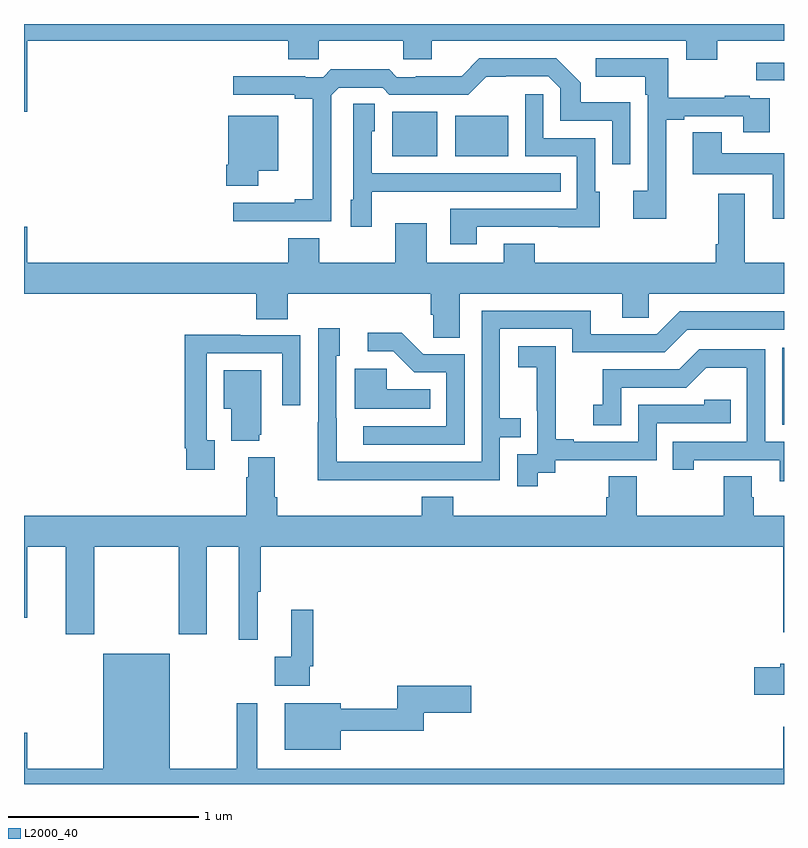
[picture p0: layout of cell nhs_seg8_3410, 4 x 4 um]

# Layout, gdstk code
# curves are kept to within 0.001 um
import gdstk
lib = gdstk.Library(unit=1e-6, precision=1e-09)
def R(c, l, rs):  # rectangles x0, y0, x1, y1
    for r in rs: c.add(gdstk.rectangle(r[:2], r[2:], *l))
def P(c, l, *ps):  # polygons
    for p in ps: c.add(gdstk.Polygon(p, *l))
L2000_40 = (2000, 40)

nhs_seg8_3410 = lib.new_cell('nhs_seg8_3410')
R(nhs_seg8_3410, L2000_40, [(324.99,1135.791,325,1136.197), (322.937,1137.203,323.176,1137.439), (323.27,1137.203,323.548,1137.418)])
P(nhs_seg8_3410, L2000_40, [(321.016,1137.812),(322.391,1137.812),(322.391,1137.714),(322.551,1137.714),(322.551,1137.812),(322.996,1137.812),(322.996,1137.714),(323.146,1137.714),(323.146,1137.812),(324.485,1137.812),(324.485,1137.713),(324.649,1137.713),(324.649,1137.812),(325,1137.812),(325,1137.9),(321,1137.9),(321,1137.438),(321.016,1137.438)],
  [(324.379,1137.396),(324.475,1137.396),(324.475,1137.414),(324.785,1137.414),(324.785,1137.33),(324.925,1137.33),(324.925,1137.51),(324.821,1137.51),(324.821,1137.523),(324.689,1137.523),(324.689,1137.512),(324.391,1137.512),(324.391,1137.72),(324.009,1137.72),(324.009,1137.623),(324.27,1137.623),(324.27,1137.527),(324.282,1137.527),(324.282,1137.022),(324.207,1137.022),(324.207,1136.874),(324.379,1136.874)],
  [(322.617,1137.525),(322.656,1137.564),(322.887,1137.564),(322.923,1137.528),(323.337,1137.528),(323.432,1137.623),(323.76,1137.624),(323.823,1137.561),(323.823,1137.39),(324.096,1137.39),(324.096,1137.162),(324.192,1137.162),(324.192,1137.487),(323.931,1137.487),(323.931,1137.59),(323.8,1137.72),(323.397,1137.72),(323.303,1137.626),(323.062,1137.626),(323.062,1137.621),(322.962,1137.621),(322.923,1137.661),(322.615,1137.661),(322.575,1137.621),(322.481,1137.621),(322.481,1137.626),(322.101,1137.626),(322.101,1137.528),(322.424,1137.528),(322.424,1137.506),(322.52,1137.506),(322.52,1136.978),(322.424,1136.978),(322.424,1136.958),(322.101,1136.958),(322.101,1136.862),(322.617,1136.862)],
  [(325,1137.697),(324.855,1137.697),(324.855,1137.603),(324.999,1137.603),(325,1137.602)],
  [(323.383,1136.832),(323.813,1136.832),(323.813,1136.831),(324.031,1136.831),(324.031,1137.018),(324.006,1137.018),(324.006,1137.3),(323.733,1137.3),(323.733,1137.529),(323.637,1137.529),(323.637,1137.204),(323.91,1137.204),(323.91,1136.928),(323.243,1136.928),(323.243,1136.742),(323.383,1136.742)],
  [(322.83,1137.017),(323.147,1137.017),(323.147,1137.018),(323.825,1137.018),(323.825,1137.114),(322.83,1137.114),(322.83,1137.336),(322.846,1137.336),(322.846,1137.479),(322.734,1137.479),(322.734,1136.976),(322.721,1136.976),(322.721,1136.832),(322.83,1136.832)],
  [(322.234,1137.128),(322.339,1137.128),(322.339,1137.418),(322.076,1137.418),(322.076,1137.16),(322.064,1137.16),(322.064,1137.048),(322.234,1137.048)],
  [(325,1137.22),(324.673,1137.22),(324.673,1137.329),(324.521,1137.329),(324.521,1137.11),(324.941,1137.11),(324.941,1136.874),(325,1136.874)],
  [(323.293,1136.48),(324.149,1136.48),(324.149,1136.353),(324.288,1136.353),(324.288,1136.48),(325,1136.48),(325,1136.644),(324.793,1136.644),(324.793,1137.007),(324.653,1137.007),(324.653,1136.74),(324.641,1136.74),(324.641,1136.644),(323.689,1136.644),(323.689,1136.743),(323.525,1136.743),(323.525,1136.644),(323.119,1136.644),(323.119,1136.851),(322.955,1136.851),(322.955,1136.644),(322.555,1136.644),(322.555,1136.773),(322.391,1136.773),(322.391,1136.644),(321.016,1136.644),(321.016,1136.833),(321,1136.833),(321,1136.48),(322.223,1136.48),(322.223,1136.347),(322.388,1136.347),(322.388,1136.48),(323.141,1136.48),(323.141,1136.371),(323.154,1136.371),(323.154,1136.248),(323.293,1136.248)],
  [(323.009,1135.5),(323.505,1135.5),(323.505,1135.725),(323.615,1135.725),(323.615,1135.826),(323.505,1135.826),(323.505,1136.295),(323.886,1136.295),(323.886,1136.172),(324.372,1136.172),(324.492,1136.292),(325,1136.292),(325,1136.388),(324.45,1136.388),(324.33,1136.268),(323.983,1136.268),(323.983,1136.391),(323.409,1136.391),(323.409,1135.596),(322.645,1135.596),(322.644,1136.154),(322.663,1136.154),(322.663,1136.299),(322.548,1136.299),(322.548,1135.805),(322.546,1135.805),(322.546,1135.499)],
  [(323.319,1136.163),(323.1,1136.163),(322.987,1136.276),(322.809,1136.276),(322.809,1136.178),(322.943,1136.178),(323.054,1136.067),(323.223,1136.067),(323.223,1135.782),(322.785,1135.782),(322.785,1135.686),(323.319,1135.686)],
  [(322.003,1135.71),(321.963,1135.71),(321.963,1136.166),(322.359,1136.166),(322.359,1135.893),(322.455,1135.893),(322.455,1136.262),(322.139,1136.262),(322.139,1136.264),(321.847,1136.264),(321.847,1135.666),(321.855,1135.666),(321.855,1135.554),(322.003,1135.554)],
  [(323.704,1135.537),(323.796,1135.537),(323.796,1135.605),(324.33,1135.605),(324.33,1135.8),(324.719,1135.8),(324.719,1135.923),(324.579,1135.923),(324.579,1135.896),(324.234,1135.896),(324.234,1135.701),(323.893,1135.701),(323.893,1135.714),(323.798,1135.714),(323.798,1135.997),(323.799,1135.997),(323.799,1136.203),(323.601,1136.203),(323.601,1136.093),(323.699,1136.093),(323.699,1135.865),(323.7,1135.865),(323.7,1135.635),(323.595,1135.635),(323.595,1135.467),(323.704,1135.467)],
  [(325,1135.701),(324.9,1135.701),(324.9,1136.187),(324.554,1136.187),(324.449,1136.082),(324.046,1136.082),(324.046,1135.897),(323.997,1135.897),(323.997,1135.788),(324.144,1135.788),(324.144,1135.986),(324.486,1135.986),(324.59,1136.09),(324.804,1136.09),(324.804,1135.701),(324.415,1135.701),(324.415,1135.554),(324.526,1135.554),(324.526,1135.605),(324.977,1135.605),(324.977,1135.494),(325,1135.494)],
  [(323.138,1135.978),(322.908,1135.978),(322.908,1136.086),(322.742,1136.086),(322.742,1135.874),(323.138,1135.874)],
  [(322.238,1135.737),(322.249,1135.737),(322.249,1136.077),(322.052,1136.077),(322.052,1135.874),(322.091,1135.874),(322.091,1135.706),(322.238,1135.706)],
  [(322.229,1134.912),(322.247,1134.912),(322.247,1135.148),(324.996,1135.148),(324.996,1134.699),(325,1134.699),(325,1135.312),(324.842,1135.312),(324.842,1135.41),(324.829,1135.41),(324.829,1135.52),(324.682,1135.52),(324.682,1135.312),(324.225,1135.312),(324.225,1135.52),(324.077,1135.52),(324.077,1135.41),(324.065,1135.41),(324.065,1135.312),(323.258,1135.312),(323.258,1135.411),(323.093,1135.411),(323.093,1135.312),(322.334,1135.312),(322.334,1135.408),(322.321,1135.408),(322.321,1135.621),(322.181,1135.621),(322.181,1135.514),(322.169,1135.514),(322.169,1135.312),(321,1135.312),(321,1134.774),(321.016,1134.774),(321.016,1135.148),(321.221,1135.148),(321.221,1134.687),(321.369,1134.687),(321.369,1135.148),(321.814,1135.148),(321.814,1134.687),(321.961,1134.687),(321.961,1135.148),(322.13,1135.148),(322.13,1134.66),(322.229,1134.66)],
  [(322.503,1134.52),(322.523,1134.52),(322.523,1134.817),(322.406,1134.817),(322.406,1134.569),(322.32,1134.569),(322.32,1134.416),(322.503,1134.416)],
  [(325,1134.202),(324.996,1134.202),(324.996,1133.98),(322.228,1133.98),(322.228,1134.325),(322.119,1134.325),(322.119,1133.98),(321.766,1133.98),(321.766,1134.586),(321.416,1134.586),(321.416,1133.98),(321.016,1133.98),(321.016,1134.169),(321,1134.169),(321,1133.9),(325,1133.9)],
  [(325,1134.532),(324.98,1134.532),(324.98,1134.515),(324.843,1134.515),(324.843,1134.371),(325,1134.371)],
  [(322.666,1134.179),(323.105,1134.179),(323.105,1134.274),(323.353,1134.274),(323.353,1134.416),(322.964,1134.416),(322.964,1134.296),(322.666,1134.296),(322.666,1134.325),(322.373,1134.325),(322.373,1134.08),(322.666,1134.08)])

lib.write_gds('nhs_seg8_3410.gds')
